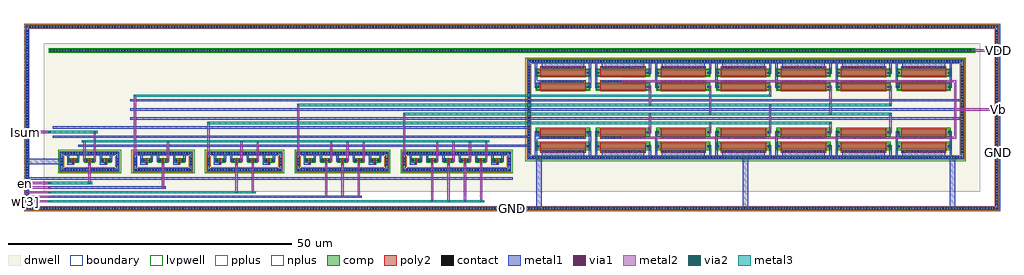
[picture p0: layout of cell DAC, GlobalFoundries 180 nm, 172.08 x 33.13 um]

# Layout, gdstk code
import gdstk
lib = gdstk.Library(unit=1e-6, precision=1e-09)
def R(c, l, rs):  # rectangles x0, y0, x1, y1
    for r in rs: c.add(gdstk.rectangle(r[:2], r[2:], *l))
def A(c, l, x, y, w, h, nx, ny, dx, dy):  # array of equal rectangles
    R(c, l, [(x+i*dx, y+j*dy, x+i*dx+w, y+j*dy+h) for i in range(nx) for j in range(ny)])
def P(c, l, *ps):  # polygons
    for p in ps: c.add(gdstk.Polygon(p, *l))
boundary = (0, 0)
dnwell = (12, 0)
comp = (22, 0)
poly2 = (30, 0)
pplus = (31, 0)
nplus = (32, 0)
contact = (33, 0)
metal1 = (34, 0)
via1 = (35, 0)
metal2 = (36, 0)
via2 = (38, 0)
metal3 = (42, 0)
lvpwell = (204, 0)

dac = lib.new_cell('DAC')
R(dac, boundary, [(0,0,172.08,33.13)])
R(dac, dnwell, [(3.5,3.5,168.58,29.63)])
A(dac, comp, 90.42, 11.02, 9.22, 1, 7, 2, 10.6, 2.47)
A(dac, comp, 90.42, 21.49, 9.22, 1, 7, 2, 10.6, 2.47)
R(dac, comp, [(0.3,0.3,171.78,0.8), (0.3,0.8,0.8,32.33), (171.28,0.8,171.78,32.33), (6.4,7.1,16.74,7.6), (19.34,7.1,29.68,7.6), (32.28,7.1,45.5,7.6), (48.1,7.1,64.2,7.6), (66.8,7.1,85.78,7.6), (6.4,7.6,6.9,9.99), (16.24,7.6,16.74,9.99), (19.34,7.6,19.84,9.99), (29.18,7.6,29.68,9.99), (32.28,7.6,32.78,9.99), (45,7.6,45.5,9.99), (48.1,7.6,48.6,9.99), (63.7,7.6,64.2,9.99), (66.8,7.6,67.3,9.99), (85.28,7.6,85.78,9.99), (88.78,9.25,165.68,9.75), (88.78,9.75,89.28,26.23), (165.18,9.75,165.68,26.23), (6.4,9.99,16.74,10.49), (19.34,9.99,29.68,10.49), (32.28,9.99,45.5,10.49), (48.1,9.99,64.2,10.49), (66.8,9.99,85.78,10.49), (88.78,26.23,165.68,26.73), (4.5,28.13,167.58,28.63), (0.3,32.33,171.78,32.83)])
P(dac, comp, [(7.94,8.79),(7.94,9.17),(8.36,9.17),(8.36,9.09),(9.02,9.09),(9.02,9.17),(9.44,9.17),(9.44,8.79),(9.02,8.79),(9.02,8.87),(8.36,8.87),(8.36,8.79)],
  [(10.82,8.79),(10.82,9.17),(11.24,9.17),(11.24,9.09),(11.9,9.09),(11.9,9.17),(12.32,9.17),(12.32,8.79),(11.9,8.79),(11.9,8.87),(11.24,8.87),(11.24,8.79)],
  [(13.7,8.79),(13.7,9.17),(14.12,9.17),(14.12,9.09),(14.78,9.09),(14.78,9.17),(15.2,9.17),(15.2,8.79),(14.78,8.79),(14.78,8.87),(14.12,8.87),(14.12,8.79)],
  [(20.88,8.79),(20.88,9.17),(21.3,9.17),(21.3,9.09),(21.96,9.09),(21.96,9.17),(22.38,9.17),(22.38,8.79),(21.96,8.79),(21.96,8.87),(21.3,8.87),(21.3,8.79)],
  [(23.76,8.79),(23.76,9.17),(24.18,9.17),(24.18,9.09),(24.84,9.09),(24.84,9.17),(25.26,9.17),(25.26,8.79),(24.84,8.79),(24.84,8.87),(24.18,8.87),(24.18,8.79)],
  [(26.64,8.79),(26.64,9.17),(27.06,9.17),(27.06,9.09),(27.72,9.09),(27.72,9.17),(28.14,9.17),(28.14,8.79),(27.72,8.79),(27.72,8.87),(27.06,8.87),(27.06,8.79)],
  [(33.82,8.79),(33.82,9.17),(34.24,9.17),(34.24,9.09),(34.9,9.09),(34.9,9.17),(35.32,9.17),(35.32,8.79),(34.9,8.79),(34.9,8.87),(34.24,8.87),(34.24,8.79)],
  [(36.7,8.79),(36.7,9.17),(37.12,9.17),(37.12,9.09),(37.78,9.09),(37.78,9.17),(38.2,9.17),(38.2,8.79),(37.78,8.79),(37.78,8.87),(37.12,8.87),(37.12,8.79)],
  [(39.58,8.79),(39.58,9.17),(40,9.17),(40,9.09),(40.66,9.09),(40.66,9.17),(41.08,9.17),(41.08,8.79),(40.66,8.79),(40.66,8.87),(40,8.87),(40,8.79)],
  [(42.46,8.79),(42.46,9.17),(42.88,9.17),(42.88,9.09),(43.54,9.09),(43.54,9.17),(43.96,9.17),(43.96,8.79),(43.54,8.79),(43.54,8.87),(42.88,8.87),(42.88,8.79)],
  [(49.64,8.79),(49.64,9.17),(50.06,9.17),(50.06,9.09),(50.72,9.09),(50.72,9.17),(51.14,9.17),(51.14,8.79),(50.72,8.79),(50.72,8.87),(50.06,8.87),(50.06,8.79)],
  [(52.52,8.79),(52.52,9.17),(52.94,9.17),(52.94,9.09),(53.6,9.09),(53.6,9.17),(54.02,9.17),(54.02,8.79),(53.6,8.79),(53.6,8.87),(52.94,8.87),(52.94,8.79)],
  [(55.4,8.79),(55.4,9.17),(55.82,9.17),(55.82,9.09),(56.48,9.09),(56.48,9.17),(56.9,9.17),(56.9,8.79),(56.48,8.79),(56.48,8.87),(55.82,8.87),(55.82,8.79)],
  [(58.28,8.79),(58.28,9.17),(58.7,9.17),(58.7,9.09),(59.36,9.09),(59.36,9.17),(59.78,9.17),(59.78,8.79),(59.36,8.79),(59.36,8.87),(58.7,8.87),(58.7,8.79)],
  [(61.16,8.79),(61.16,9.17),(61.58,9.17),(61.58,9.09),(62.24,9.09),(62.24,9.17),(62.66,9.17),(62.66,8.79),(62.24,8.79),(62.24,8.87),(61.58,8.87),(61.58,8.79)],
  [(68.34,8.79),(68.34,9.17),(68.76,9.17),(68.76,9.09),(69.42,9.09),(69.42,9.17),(69.84,9.17),(69.84,8.79),(69.42,8.79),(69.42,8.87),(68.76,8.87),(68.76,8.79)],
  [(71.22,8.79),(71.22,9.17),(71.64,9.17),(71.64,9.09),(72.3,9.09),(72.3,9.17),(72.72,9.17),(72.72,8.79),(72.3,8.79),(72.3,8.87),(71.64,8.87),(71.64,8.79)],
  [(74.1,8.79),(74.1,9.17),(74.52,9.17),(74.52,9.09),(75.18,9.09),(75.18,9.17),(75.6,9.17),(75.6,8.79),(75.18,8.79),(75.18,8.87),(74.52,8.87),(74.52,8.79)],
  [(76.98,8.79),(76.98,9.17),(77.4,9.17),(77.4,9.09),(78.06,9.09),(78.06,9.17),(78.48,9.17),(78.48,8.79),(78.06,8.79),(78.06,8.87),(77.4,8.87),(77.4,8.79)],
  [(79.86,8.79),(79.86,9.17),(80.28,9.17),(80.28,9.09),(80.94,9.09),(80.94,9.17),(81.36,9.17),(81.36,8.79),(80.94,8.79),(80.94,8.87),(80.28,8.87),(80.28,8.79)],
  [(82.74,8.79),(82.74,9.17),(83.16,9.17),(83.16,9.09),(83.82,9.09),(83.82,9.17),(84.24,9.17),(84.24,8.79),(83.82,8.79),(83.82,8.87),(83.16,8.87),(83.16,8.79)])
A(dac, poly2, 91.03, 10.36, 8, 1.96, 7, 2, 10.6, 2.47)
A(dac, poly2, 91.03, 21.19, 8, 1.96, 7, 2, 10.6, 2.47)
P(dac, poly2, [(8.51,8.21),(8.51,8.57),(8.55,8.57),(8.55,9.39),(8.83,9.39),(8.83,8.57),(8.87,8.57),(8.87,8.21)],
  [(11.39,8.21),(11.39,8.57),(11.43,8.57),(11.43,9.39),(11.71,9.39),(11.71,8.57),(11.75,8.57),(11.75,8.21)],
  [(14.27,8.21),(14.27,8.57),(14.31,8.57),(14.31,9.39),(14.59,9.39),(14.59,8.57),(14.63,8.57),(14.63,8.21)],
  [(21.45,8.21),(21.45,8.57),(21.49,8.57),(21.49,9.39),(21.77,9.39),(21.77,8.57),(21.81,8.57),(21.81,8.21)],
  [(24.33,8.21),(24.33,8.57),(24.37,8.57),(24.37,9.39),(24.65,9.39),(24.65,8.57),(24.69,8.57),(24.69,8.21)],
  [(27.21,8.21),(27.21,8.57),(27.25,8.57),(27.25,9.39),(27.53,9.39),(27.53,8.57),(27.57,8.57),(27.57,8.21)],
  [(34.39,8.21),(34.39,8.57),(34.43,8.57),(34.43,9.39),(34.71,9.39),(34.71,8.57),(34.75,8.57),(34.75,8.21)],
  [(37.27,8.21),(37.27,8.57),(37.31,8.57),(37.31,9.39),(37.59,9.39),(37.59,8.57),(37.63,8.57),(37.63,8.21)],
  [(40.15,8.21),(40.15,8.57),(40.19,8.57),(40.19,9.39),(40.47,9.39),(40.47,8.57),(40.51,8.57),(40.51,8.21)],
  [(43.03,8.21),(43.03,8.57),(43.07,8.57),(43.07,9.39),(43.35,9.39),(43.35,8.57),(43.39,8.57),(43.39,8.21)],
  [(50.21,8.21),(50.21,8.57),(50.25,8.57),(50.25,9.39),(50.53,9.39),(50.53,8.57),(50.57,8.57),(50.57,8.21)],
  [(53.09,8.21),(53.09,8.57),(53.13,8.57),(53.13,9.39),(53.41,9.39),(53.41,8.57),(53.45,8.57),(53.45,8.21)],
  [(55.97,8.21),(55.97,8.57),(56.01,8.57),(56.01,9.39),(56.29,9.39),(56.29,8.57),(56.33,8.57),(56.33,8.21)],
  [(58.85,8.21),(58.85,8.57),(58.89,8.57),(58.89,9.39),(59.17,9.39),(59.17,8.57),(59.21,8.57),(59.21,8.21)],
  [(61.73,8.21),(61.73,8.57),(61.77,8.57),(61.77,9.39),(62.05,9.39),(62.05,8.57),(62.09,8.57),(62.09,8.21)],
  [(68.91,8.21),(68.91,8.57),(68.95,8.57),(68.95,9.39),(69.23,9.39),(69.23,8.57),(69.27,8.57),(69.27,8.21)],
  [(71.79,8.21),(71.79,8.57),(71.83,8.57),(71.83,9.39),(72.11,9.39),(72.11,8.57),(72.15,8.57),(72.15,8.21)],
  [(74.67,8.21),(74.67,8.57),(74.71,8.57),(74.71,9.39),(74.99,9.39),(74.99,8.57),(75.03,8.57),(75.03,8.21)],
  [(77.55,8.21),(77.55,8.57),(77.59,8.57),(77.59,9.39),(77.87,9.39),(77.87,8.57),(77.91,8.57),(77.91,8.21)],
  [(80.43,8.21),(80.43,8.57),(80.47,8.57),(80.47,9.39),(80.75,9.39),(80.75,8.57),(80.79,8.57),(80.79,8.21)],
  [(83.31,8.21),(83.31,8.57),(83.35,8.57),(83.35,9.39),(83.63,9.39),(83.63,8.57),(83.67,8.57),(83.67,8.21)])
R(dac, pplus, [(0.14,0.14,171.94,0.96), (0.14,0.64,0.96,32.49), (171.12,0.64,171.94,32.49), (6.24,6.94,16.9,7.76), (19.18,6.94,29.84,7.76), (32.12,6.94,45.66,7.76), (47.94,6.94,64.36,7.76), (66.64,6.94,85.94,7.76), (6.24,7.44,7.06,10.15), (16.08,7.44,16.9,10.15), (19.18,7.44,20,10.15), (29.02,7.44,29.84,10.15), (32.12,7.44,32.94,10.15), (44.84,7.44,45.66,10.15), (47.94,7.44,48.76,10.15), (63.54,7.44,64.36,10.15), (66.64,7.44,67.46,10.15), (85.12,7.44,85.94,10.15), (88.62,9.09,165.84,9.91), (88.62,9.59,89.44,26.39), (165.02,9.59,165.84,26.39), (6.24,9.83,16.9,10.65), (19.18,9.83,29.84,10.65), (32.12,9.83,45.66,10.65), (47.94,9.83,64.36,10.65), (66.64,9.83,85.94,10.65), (88.62,26.07,165.84,26.89), (0.14,32.17,171.94,32.99)])
A(dac, nplus, 7.77, 8.55, 1.84, 0.86, 3, 1, 2.88, 0)
A(dac, nplus, 20.71, 8.55, 1.84, 0.86, 3, 1, 2.88, 0)
A(dac, nplus, 33.65, 8.55, 1.84, 0.86, 4, 1, 2.88, 0)
A(dac, nplus, 49.47, 8.55, 1.84, 0.86, 5, 1, 2.88, 0)
A(dac, nplus, 68.17, 8.55, 1.84, 0.86, 6, 1, 2.88, 0)
A(dac, nplus, 90.25, 10.78, 9.56, 1.48, 7, 2, 10.6, 2.47)
A(dac, nplus, 90.25, 21.25, 9.56, 1.48, 7, 2, 10.6, 2.47)
R(dac, nplus, [(4.34,27.97,167.74,28.79)])
A(dac, contact, 0.43, 0.44, 0.22, 0.22, 343, 2, 0.5, 32.03)
A(dac, contact, 0.44, 1.205, 0.22, 0.22, 1, 62, 0, 0.5)
A(dac, contact, 171.42, 1.205, 0.22, 0.22, 1, 62, 0, 0.5)
A(dac, contact, 6.71, 7.24, 0.22, 0.22, 20, 2, 0.5, 2.89)
A(dac, contact, 19.65, 7.24, 0.22, 0.22, 20, 2, 0.5, 2.89)
A(dac, contact, 32.53, 7.24, 0.22, 0.22, 26, 2, 0.5, 2.89)
A(dac, contact, 48.29, 7.24, 0.22, 0.22, 32, 2, 0.5, 2.89)
A(dac, contact, 66.93, 7.24, 0.22, 0.22, 38, 2, 0.5, 2.89)
A(dac, contact, 6.54, 8.185, 0.22, 0.22, 1, 3, 0, 0.5)
A(dac, contact, 16.38, 8.185, 0.22, 0.22, 1, 3, 0, 0.5)
A(dac, contact, 19.48, 8.185, 0.22, 0.22, 1, 3, 0, 0.5)
A(dac, contact, 29.32, 8.185, 0.22, 0.22, 1, 3, 0, 0.5)
A(dac, contact, 32.42, 8.185, 0.22, 0.22, 1, 3, 0, 0.5)
A(dac, contact, 45.14, 8.185, 0.22, 0.22, 1, 3, 0, 0.5)
A(dac, contact, 48.24, 8.185, 0.22, 0.22, 1, 3, 0, 0.5)
A(dac, contact, 63.84, 8.185, 0.22, 0.22, 1, 3, 0, 0.5)
A(dac, contact, 66.94, 8.185, 0.22, 0.22, 1, 3, 0, 0.5)
A(dac, contact, 85.42, 8.185, 0.22, 0.22, 1, 3, 0, 0.5)
A(dac, contact, 8.58, 8.28, 0.22, 0.22, 3, 1, 2.88, 0)
A(dac, contact, 21.52, 8.28, 0.22, 0.22, 3, 1, 2.88, 0)
A(dac, contact, 34.46, 8.28, 0.22, 0.22, 4, 1, 2.88, 0)
A(dac, contact, 50.28, 8.28, 0.22, 0.22, 5, 1, 2.88, 0)
A(dac, contact, 68.98, 8.28, 0.22, 0.22, 6, 1, 2.88, 0)
A(dac, contact, 89.12, 9.39, 0.22, 0.22, 153, 2, 0.5, 16.98)
A(dac, contact, 88.92, 10.38, 0.22, 0.22, 1, 31, 0, 0.5)
A(dac, contact, 165.32, 10.38, 0.22, 0.22, 1, 31, 0, 0.5)
A(dac, contact, 91.35, 10.43, 0.22, 0.22, 15, 2, 0.51, 2.47)
A(dac, contact, 101.95, 10.43, 0.22, 0.22, 15, 2, 0.51, 2.47)
A(dac, contact, 112.55, 10.43, 0.22, 0.22, 15, 2, 0.51, 2.47)
A(dac, contact, 123.15, 10.43, 0.22, 0.22, 15, 2, 0.51, 2.47)
A(dac, contact, 133.75, 10.43, 0.22, 0.22, 15, 2, 0.51, 2.47)
A(dac, contact, 144.35, 10.43, 0.22, 0.22, 15, 2, 0.51, 2.47)
A(dac, contact, 154.95, 10.43, 0.22, 0.22, 15, 2, 0.51, 2.47)
A(dac, contact, 91.35, 22.86, 0.22, 0.22, 15, 2, 0.51, 2.47)
A(dac, contact, 101.95, 22.86, 0.22, 0.22, 15, 2, 0.51, 2.47)
A(dac, contact, 112.55, 22.86, 0.22, 0.22, 15, 2, 0.51, 2.47)
A(dac, contact, 123.15, 22.86, 0.22, 0.22, 15, 2, 0.51, 2.47)
A(dac, contact, 133.75, 22.86, 0.22, 0.22, 15, 2, 0.51, 2.47)
A(dac, contact, 144.35, 22.86, 0.22, 0.22, 15, 2, 0.51, 2.47)
A(dac, contact, 154.95, 22.86, 0.22, 0.22, 15, 2, 0.51, 2.47)
A(dac, contact, 4.68, 28.27, 0.22, 0.22, 326, 1, 0.5, 0)
R(dac, contact, [(8.04,8.87,8.26,9.09), (9.12,8.87,9.34,9.09), (10.92,8.87,11.14,9.09), (12,8.87,12.22,9.09), (13.8,8.87,14.02,9.09), (14.88,8.87,15.1,9.09), (20.98,8.87,21.2,9.09), (22.06,8.87,22.28,9.09), (23.86,8.87,24.08,9.09), (24.94,8.87,25.16,9.09), (26.74,8.87,26.96,9.09), (27.82,8.87,28.04,9.09), (33.92,8.87,34.14,9.09), (35,8.87,35.22,9.09), (36.8,8.87,37.02,9.09), (37.88,8.87,38.1,9.09), (39.68,8.87,39.9,9.09), (40.76,8.87,40.98,9.09), (42.56,8.87,42.78,9.09), (43.64,8.87,43.86,9.09), (49.74,8.87,49.96,9.09), (50.82,8.87,51.04,9.09), (52.62,8.87,52.84,9.09), (53.7,8.87,53.92,9.09), (55.5,8.87,55.72,9.09), (56.58,8.87,56.8,9.09), (58.38,8.87,58.6,9.09), (59.46,8.87,59.68,9.09), (61.26,8.87,61.48,9.09), (62.34,8.87,62.56,9.09), (68.44,8.87,68.66,9.09), (69.52,8.87,69.74,9.09), (71.32,8.87,71.54,9.09), (72.4,8.87,72.62,9.09), (74.2,8.87,74.42,9.09), (75.28,8.87,75.5,9.09), (77.08,8.87,77.3,9.09), (78.16,8.87,78.38,9.09), (79.96,8.87,80.18,9.09), (81.04,8.87,81.26,9.09), (82.84,8.87,83.06,9.09), (83.92,8.87,84.14,9.09), (90.52,11.41,90.74,11.63), (99.32,11.41,99.54,11.63), (101.12,11.41,101.34,11.63), (109.92,11.41,110.14,11.63), (111.72,11.41,111.94,11.63), (120.52,11.41,120.74,11.63), (122.32,11.41,122.54,11.63), (131.12,11.41,131.34,11.63), (132.92,11.41,133.14,11.63), (141.72,11.41,141.94,11.63), (143.52,11.41,143.74,11.63), (152.32,11.41,152.54,11.63), (154.12,11.41,154.34,11.63), (162.92,11.41,163.14,11.63), (90.52,13.88,90.74,14.1), (99.32,13.88,99.54,14.1), (101.12,13.88,101.34,14.1), (109.92,13.88,110.14,14.1), (111.72,13.88,111.94,14.1), (120.52,13.88,120.74,14.1), (122.32,13.88,122.54,14.1), (131.12,13.88,131.34,14.1), (132.92,13.88,133.14,14.1), (141.72,13.88,141.94,14.1), (143.52,13.88,143.74,14.1), (152.32,13.88,152.54,14.1), (154.12,13.88,154.34,14.1), (162.92,13.88,163.14,14.1), (90.52,21.88,90.74,22.1), (99.32,21.88,99.54,22.1), (101.12,21.88,101.34,22.1), (109.92,21.88,110.14,22.1), (111.72,21.88,111.94,22.1), (120.52,21.88,120.74,22.1), (122.32,21.88,122.54,22.1), (131.12,21.88,131.34,22.1), (132.92,21.88,133.14,22.1), (141.72,21.88,141.94,22.1), (143.52,21.88,143.74,22.1), (152.32,21.88,152.54,22.1), (154.12,21.88,154.34,22.1), (162.92,21.88,163.14,22.1), (90.52,24.35,90.74,24.57), (99.32,24.35,99.54,24.57), (101.12,24.35,101.34,24.57), (109.92,24.35,110.14,24.57), (111.72,24.35,111.94,24.57), (120.52,24.35,120.74,24.57), (122.32,24.35,122.54,24.57), (131.12,24.35,131.34,24.57), (132.92,24.35,133.14,24.57), (141.72,24.35,141.94,24.57), (143.52,24.35,143.74,24.57), (152.32,24.35,152.54,24.57), (154.12,24.35,154.34,24.57), (162.92,24.35,163.14,24.57)])
A(dac, metal1, 90.28, 0.79, 1, 8.47, 3, 1, 36.45, 0)
A(dac, metal1, 53.07, 2.4, 0.4, 0.4, 3, 2, 2.88, 5.79)
A(dac, metal1, 11.37, 8.19, 0.4, 0.4, 3, 1, 12.94, 0)
A(dac, metal1, 71.77, 8.19, 0.4, 0.4, 4, 1, 2.88, 0)
A(dac, metal1, 8.5, 8.2, 0.38, 0.38, 3, 1, 2.88, 0)
A(dac, metal1, 21.44, 8.2, 0.38, 0.38, 3, 1, 2.88, 0)
A(dac, metal1, 34.38, 8.2, 0.38, 0.38, 4, 1, 2.88, 0)
A(dac, metal1, 50.2, 8.2, 0.38, 0.38, 5, 1, 2.88, 0)
A(dac, metal1, 68.9, 8.2, 0.38, 0.38, 6, 1, 2.88, 0)
A(dac, metal1, 12.26, 8.78, 0.4, 0.4, 3, 1, 12.94, 0)
A(dac, metal1, 53.96, 8.78, 0.4, 0.4, 3, 1, 2.88, 0)
A(dac, metal1, 72.66, 8.78, 0.4, 0.4, 4, 1, 2.88, 0)
A(dac, metal1, 7.6, 8.79, 0.74, 0.38, 6, 1, 1.44, 0)
A(dac, metal1, 20.54, 8.79, 0.74, 0.38, 6, 1, 1.44, 0)
A(dac, metal1, 33.48, 8.79, 0.74, 0.38, 8, 1, 1.44, 0)
A(dac, metal1, 49.3, 8.79, 0.74, 0.38, 10, 1, 1.44, 0)
A(dac, metal1, 68, 8.79, 0.74, 0.38, 12, 1, 1.44, 0)
A(dac, metal1, 36.36, 8.98, 0.4, 1.02, 3, 1, 2.88, 0)
A(dac, metal1, 52.18, 8.98, 0.4, 1.02, 4, 1, 2.88, 0)
A(dac, metal1, 70.88, 8.98, 0.4, 1.02, 5, 1, 2.88, 0)
A(dac, metal1, 91.27, 9.74, 7.52, 0.99, 7, 2, 10.6, 15.51)
A(dac, metal1, 91.27, 10.35, 7.52, 0.38, 7, 2, 10.6, 2.47)
A(dac, metal1, 100.68, 11.52, 0.4, 2.47, 6, 2, 10.6, 10.47)
A(dac, metal1, 105.43, 12.81, 0.4, 0.4, 5, 2, 10.6, 9.96)
A(dac, metal1, 110.18, 13.79, 0.4, 0.4, 5, 2, 10.6, 8)
A(dac, metal1, 18.74, 16.19, 146.94, 0.4, 1, 3, 0, 1.6)
A(dac, metal1, 91.27, 22.78, 7.52, 0.38, 7, 2, 10.6, 2.47)
R(dac, metal1, [(0.3,0.3,171.78,0.8), (0.3,0.8,0.8,32.33), (171.28,0.8,171.78,32.33), (4.3,2.4,4.7,2.8), (4.3,2.4,59.53,2.8), (4.3,4,4.7,4.4), (4.3,4,25.01,4.4), (24.31,4,24.71,4.4), (0.79,5.6,86.18,6), (6.4,7.1,16.74,7.6), (19.34,7.1,29.68,7.6), (32.28,7.1,45.5,7.6), (48.1,7.1,64.2,7.6), (66.8,7.1,85.78,7.6), (6.4,7.6,6.9,9.99), (16.24,7.6,16.74,9.99), (19.34,7.6,19.84,9.99), (29.18,7.6,29.68,9.99), (32.28,7.6,32.78,9.99), (45,7.6,45.5,9.99), (48.1,7.6,48.6,9.99), (63.7,7.6,64.2,9.99), (66.8,7.6,67.3,9.99), (85.28,7.6,85.78,9.99), (40.13,8.19,40.53,8.59), (7.6,8.2,8.34,9.17), (8.33,8.2,8.69,8.58), (13.36,8.2,14.1,9.17), (14.09,8.2,14.45,8.58), (20.54,8.2,21.28,9.17), (21.27,8.2,21.63,8.58), (26.3,8.2,27.04,9.17), (27.03,8.2,27.39,8.58), (33.48,8.2,34.22,9.17), (34.21,8.2,34.57,8.58), (42.12,8.2,42.86,9.17), (42.85,8.2,43.21,8.58), (49.3,8.2,50.04,9.17), (50.03,8.2,50.39,8.58), (60.82,8.2,61.56,9.17), (61.55,8.2,61.91,8.58), (68,8.2,68.74,9.17), (68.73,8.2,69.09,8.58), (82.4,8.2,83.14,9.17), (83.13,8.2,83.49,8.58), (0.79,8.295,6.41,9.295), (10.48,8.78,10.88,9.18), (41.02,8.78,41.42,9.18), (7.96,8.79,8.34,9.17), (9.04,8.79,9.42,9.17), (10.84,8.79,11.22,9.17), (11.92,8.79,12.3,9.17), (13.72,8.79,14.1,9.17), (14.8,8.79,15.18,9.17), (20.9,8.79,21.28,9.17), (21.98,8.79,22.36,9.17), (23.78,8.79,24.16,9.17), (24.86,8.79,25.24,9.17), (26.66,8.79,27.04,9.17), (27.74,8.79,28.12,9.17), (33.84,8.79,34.22,9.17), (34.92,8.79,35.3,9.17), (36.72,8.79,37.1,9.17), (37.8,8.79,38.18,9.17), (39.6,8.79,39.98,9.17), (40.68,8.79,41.06,9.17), (42.48,8.79,42.86,9.17), (43.56,8.79,43.94,9.17), (49.66,8.79,50.04,9.17), (50.74,8.79,51.12,9.17), (52.54,8.79,52.92,9.17), (53.62,8.79,54,9.17), (55.42,8.79,55.8,9.17), (56.5,8.79,56.88,9.17), (58.3,8.79,58.68,9.17), (59.38,8.79,59.76,9.17), (61.18,8.79,61.56,9.17), (62.26,8.79,62.64,9.17), (68.36,8.79,68.74,9.17), (69.44,8.79,69.82,9.17), (71.24,8.79,71.62,9.17), (72.32,8.79,72.7,9.17), (74.12,8.79,74.5,9.17), (75.2,8.79,75.58,9.17), (77,8.79,77.38,9.17), (78.08,8.79,78.46,9.17), (79.88,8.79,80.26,9.17), (80.96,8.79,81.34,9.17), (82.76,8.79,83.14,9.17), (83.84,8.79,84.22,9.17), (7.6,8.98,8,10), (9.38,8.98,9.78,10), (13.36,8.98,13.76,10), (15.14,8.98,15.54,10), (20.54,8.98,20.94,10), (22.32,8.98,22.72,10), (23.42,8.98,23.82,10), (26.3,8.98,26.7,10), (28.08,8.98,28.48,10), (33.48,8.98,33.88,10), (35.26,8.98,35.66,10), (43.9,8.98,44.3,10), (49.3,8.98,49.7,10), (51.08,8.98,51.48,10), (62.6,8.98,63,10), (68,8.98,68.4,10), (69.78,8.98,70.18,10), (84.18,8.98,84.58,10), (88.78,9.25,165.68,9.75), (90.08,9.74,90.48,11.52), (99.58,9.74,99.98,11.52), (100.68,9.74,101.08,11.52), (110.18,9.74,110.58,11.52), (111.28,9.74,111.68,11.52), (120.78,9.74,121.18,11.52), (121.88,9.74,122.28,11.52), (131.38,9.74,131.78,11.52), (132.48,9.74,132.88,11.52), (141.98,9.74,142.38,11.52), (143.08,9.74,143.48,11.52), (152.58,9.74,152.98,11.52), (153.68,9.74,154.08,11.52), (163.18,9.74,163.58,11.52), (88.78,9.75,89.28,26.23), (165.18,9.75,165.68,26.23), (6.4,9.99,16.74,10.49), (19.34,9.99,29.68,10.49), (32.28,9.99,45.5,10.49), (48.1,9.99,64.2,10.49), (66.8,9.99,85.78,10.49), (19.39,10.04,19.79,10.44), (32.33,10.04,32.73,10.44), (48.15,10.04,48.55,10.44), (66.85,10.04,67.25,10.44), (171.33,10.185,171.73,10.585), (90.08,11.33,90.82,11.71), (90.44,11.33,90.82,11.71), (99.24,11.33,99.62,11.71), (99.24,11.33,99.98,11.71), (100.68,11.33,101.42,11.71), (101.04,11.33,101.42,11.71), (109.84,11.33,110.22,11.71), (109.84,11.33,110.58,11.71), (111.28,11.33,112.02,11.71), (111.64,11.33,112.02,11.71), (120.44,11.33,120.82,11.71), (120.44,11.33,121.18,11.71), (121.88,11.33,122.62,11.71), (122.24,11.33,122.62,11.71), (131.04,11.33,131.42,11.71), (131.04,11.33,131.78,11.71), (132.48,11.33,133.22,11.71), (132.84,11.33,133.22,11.71), (141.64,11.33,142.02,11.71), (141.64,11.33,142.38,11.71), (143.08,11.33,143.82,11.71), (143.44,11.33,143.82,11.71), (152.24,11.33,152.62,11.71), (152.24,11.33,152.98,11.71), (153.68,11.33,154.42,11.71), (154.04,11.33,154.42,11.71), (162.84,11.33,163.22,11.71), (162.84,11.33,163.58,11.71), (9.58,11.39,89.28,11.79), (90.08,11.52,90.48,13.99), (99.58,11.52,99.98,13.99), (163.18,11.52,163.58,13.99), (90.08,12.82,90.82,14.18), (90.81,12.82,95.03,13.2), (153.68,12.82,154.42,14.18), (154.41,12.82,158.63,13.2), (5.1,12.99,89.28,13.39), (90.08,13.8,90.82,14.18), (90.44,13.8,90.82,14.18), (99.24,13.8,99.62,14.18), (99.24,13.8,99.98,14.18), (100.68,13.8,101.42,14.18), (101.04,13.8,101.42,14.18), (109.84,13.8,110.22,14.18), (109.84,13.8,110.58,14.18), (111.28,13.8,112.02,14.18), (111.64,13.8,112.02,14.18), (120.44,13.8,120.82,14.18), (120.44,13.8,121.18,14.18), (121.88,13.8,122.62,14.18), (122.24,13.8,122.62,14.18), (131.04,13.8,131.42,14.18), (131.04,13.8,131.78,14.18), (132.48,13.8,133.22,14.18), (132.84,13.8,133.22,14.18), (141.64,13.8,142.02,14.18), (141.64,13.8,142.38,14.18), (143.08,13.8,143.82,14.18), (143.44,13.8,143.82,14.18), (152.24,13.8,152.62,14.18), (152.24,13.8,152.98,14.18), (153.68,13.8,154.42,14.18), (154.04,13.8,154.42,14.18), (162.84,13.8,163.22,14.18), (162.84,13.8,163.58,14.18), (5.1,14.59,89.28,14.99), (90.08,21.8,90.82,22.18), (90.08,21.8,90.82,23.16), (90.44,21.8,90.82,22.18), (99.24,21.8,99.62,22.18), (99.24,21.8,99.98,22.18), (100.68,21.8,101.42,22.18), (101.04,21.8,101.42,22.18), (109.84,21.8,110.22,22.18), (109.84,21.8,110.58,22.18), (111.28,21.8,112.02,22.18), (111.64,21.8,112.02,22.18), (120.44,21.8,120.82,22.18), (120.44,21.8,121.18,22.18), (121.88,21.8,122.62,22.18), (122.24,21.8,122.62,22.18), (131.04,21.8,131.42,22.18), (131.04,21.8,131.78,22.18), (132.48,21.8,133.22,22.18), (132.84,21.8,133.22,22.18), (141.64,21.8,142.02,22.18), (141.64,21.8,142.38,22.18), (143.08,21.8,143.82,22.18), (143.44,21.8,143.82,22.18), (152.24,21.8,152.62,22.18), (152.24,21.8,152.98,22.18), (153.68,21.8,154.42,22.18), (153.68,21.8,154.42,23.16), (154.04,21.8,154.42,22.18), (162.84,21.8,163.22,22.18), (162.84,21.8,163.58,22.18), (90.08,21.99,90.48,24.46), (99.58,21.99,99.98,24.46), (163.18,21.99,163.58,24.46), (90.81,22.78,95.03,23.16), (154.41,22.78,158.63,23.16), (90.08,24.27,90.82,24.65), (90.44,24.27,90.82,24.65), (99.24,24.27,99.62,24.65), (99.24,24.27,99.98,24.65), (100.68,24.27,101.42,24.65), (101.04,24.27,101.42,24.65), (109.84,24.27,110.22,24.65), (109.84,24.27,110.58,24.65), (111.28,24.27,112.02,24.65), (111.64,24.27,112.02,24.65), (120.44,24.27,120.82,24.65), (120.44,24.27,121.18,24.65), (121.88,24.27,122.62,24.65), (122.24,24.27,122.62,24.65), (131.04,24.27,131.42,24.65), (131.04,24.27,131.78,24.65), (132.48,24.27,133.22,24.65), (132.84,24.27,133.22,24.65), (141.64,24.27,142.02,24.65), (141.64,24.27,142.38,24.65), (143.08,24.27,143.82,24.65), (143.44,24.27,143.82,24.65), (152.24,24.27,152.62,24.65), (152.24,24.27,152.98,24.65), (153.68,24.27,154.42,24.65), (154.04,24.27,154.42,24.65), (162.84,24.27,163.22,24.65), (162.84,24.27,163.58,24.65), (90.08,24.46,90.48,26.24), (99.58,24.46,99.98,26.24), (100.68,24.46,101.08,26.24), (110.18,24.46,110.58,26.24), (111.28,24.46,111.68,26.24), (120.78,24.46,121.18,26.24), (121.88,24.46,122.28,26.24), (131.38,24.46,131.78,26.24), (132.48,24.46,132.88,26.24), (141.98,24.46,142.38,26.24), (143.08,24.46,143.48,26.24), (152.58,24.46,152.98,26.24), (153.68,24.46,154.08,26.24), (163.18,24.46,163.58,26.24), (88.78,26.23,165.68,26.73), (4.5,28.13,167.58,28.63), (167.08,28.18,167.48,28.58), (0.3,32.33,171.78,32.83)])
A(dac, via1, 53.14, 2.47, 0.26, 0.26, 3, 2, 2.88, 5.79)
A(dac, via1, 11.44, 8.26, 0.26, 0.26, 3, 1, 12.94, 0)
A(dac, via1, 71.84, 8.26, 0.26, 0.26, 4, 1, 2.88, 0)
A(dac, via1, 12.33, 8.85, 0.26, 0.26, 3, 1, 12.94, 0)
A(dac, via1, 54.03, 8.85, 0.26, 0.26, 3, 1, 2.88, 0)
A(dac, via1, 72.73, 8.85, 0.26, 0.26, 4, 1, 2.88, 0)
A(dac, via1, 105.5, 12.88, 0.26, 0.26, 5, 2, 10.6, 9.96)
A(dac, via1, 110.25, 13.86, 0.26, 0.26, 5, 2, 10.6, 8)
R(dac, via1, [(4.37,2.47,4.63,2.73), (4.37,4.07,4.63,4.33), (24.38,4.07,24.64,4.33), (40.2,8.26,40.46,8.52), (10.55,8.85,10.81,9.11), (41.09,8.85,41.35,9.11), (19.46,10.11,19.72,10.37), (32.4,10.11,32.66,10.37), (48.22,10.11,48.48,10.37), (66.92,10.11,67.18,10.37), (171.4,10.255,171.66,10.515), (167.15,28.25,167.41,28.51)])
A(dac, metal2, 0, 1.6, 0.6, 0.4, 1, 5, 0, 0.8)
A(dac, metal2, 0, 1.6, 4.5, 0.4, 1, 5, 0, 0.8)
A(dac, metal2, 4.3, 1.6, 0.4, 0.4, 1, 5, 0, 0.8)
A(dac, metal2, 71.77, 1.6, 0.4, 0.4, 4, 2, 2.88, 6.59)
A(dac, metal2, 71.77, 1.8, 0.4, 6.59, 4, 1, 2.88, 0)
A(dac, metal2, 53.07, 2.4, 0.4, 0.4, 3, 2, 2.88, 5.79)
A(dac, metal2, 53.07, 2.6, 0.4, 5.79, 3, 1, 2.88, 0)
A(dac, metal2, 11.37, 8.19, 0.4, 0.4, 3, 1, 12.94, 0)
A(dac, metal2, 12.26, 8.78, 0.4, 0.4, 3, 1, 12.94, 0)
A(dac, metal2, 53.96, 8.78, 0.4, 0.4, 3, 2, 2.88, 3.41)
A(dac, metal2, 72.66, 8.78, 0.4, 0.4, 4, 2, 2.88, 3.41)
A(dac, metal2, 53.96, 8.98, 0.4, 3.41, 3, 1, 2.88, 0)
A(dac, metal2, 72.66, 8.98, 0.4, 3.41, 4, 1, 2.88, 0)
A(dac, metal2, 105.43, 12.81, 0.4, 0.4, 5, 2, 10.6, 9.96)
A(dac, metal2, 110.18, 13.79, 0.4, 0.4, 5, 2, 10.6, 8)
A(dac, metal2, 110.18, 18.59, 0.4, 0.4, 3, 1, 21.2, 0)
R(dac, metal2, [(37.25,3.2,37.65,3.6), (40.13,3.2,40.53,3.6), (37.25,3.4,37.65,8.39), (40.13,3.4,40.53,8.39), (24.31,4,24.71,4.4), (24.31,4.2,24.71,8.39), (11.37,4.8,11.77,5.2), (11.37,5,11.77,8.39), (40.13,8.19,40.53,8.59), (10.48,8.78,10.88,9.18), (41.02,8.78,41.42,9.18), (10.48,8.98,10.88,12.39), (12.26,8.98,12.66,13.99), (25.2,8.98,25.6,12.39), (38.14,8.98,38.54,12.39), (41.02,8.98,41.42,12.39), (19.39,10.04,19.79,10.44), (32.33,10.04,32.73,10.44), (48.15,10.04,48.55,10.44), (66.85,10.04,67.25,10.44), (171.48,10.135,172.08,10.635), (171.33,10.185,171.73,10.585), (19.39,10.24,19.79,20.39), (32.33,10.24,32.73,15.59), (48.15,10.24,48.55,18.79), (66.85,10.24,67.25,17.19), (10.48,12.19,10.88,12.59), (25.2,12.19,25.6,12.59), (38.14,12.19,38.54,12.59), (41.02,12.19,41.42,12.59), (105.43,12.81,164.38,13.21), (163.98,12.81,164.38,23.17), (0,13.79,0.6,14.19), (0,13.79,4.5,14.19), (4.3,13.79,4.7,14.19), (12.26,13.79,12.66,14.19), (110.18,13.99,110.58,17.19), (120.78,13.99,121.18,15.59), (131.38,13.99,131.78,18.79), (141.98,13.99,142.38,15.59), (152.58,13.99,152.98,17.19), (32.33,15.39,32.73,15.79), (120.78,15.39,121.18,15.79), (141.98,15.39,142.38,15.79), (66.85,16.99,67.25,17.39), (110.18,16.99,110.58,17.39), (120.78,16.99,121.18,17.39), (141.98,16.99,142.38,17.39), (152.58,16.99,152.98,17.39), (120.78,17.19,121.18,21.99), (141.98,17.19,142.38,21.99), (163.98,17.79,172.08,18.19), (171.48,17.79,172.08,18.19), (48.15,18.59,48.55,18.99), (110.18,18.79,110.58,21.99), (152.58,18.79,152.98,21.99), (19.39,20.19,19.79,20.59), (131.38,20.19,131.78,20.59), (131.38,20.39,131.78,21.99), (105.43,22.77,164.38,23.17), (167.28,28.13,172.08,28.63), (171.48,28.13,172.08,28.63), (167.08,28.18,167.48,28.58)])
A(dac, via2, 4.37, 1.67, 0.26, 0.26, 1, 3, 0, 1.6)
A(dac, via2, 71.84, 1.67, 0.26, 0.26, 4, 1, 2.88, 0)
A(dac, via2, 54.03, 12.26, 0.26, 0.26, 3, 1, 2.88, 0)
A(dac, via2, 72.73, 12.26, 0.26, 0.26, 4, 1, 2.88, 0)
A(dac, via2, 110.25, 18.66, 0.26, 0.26, 3, 1, 21.2, 0)
R(dac, via2, [(37.32,3.27,37.58,3.53), (40.2,3.27,40.46,3.53), (11.44,4.87,11.7,5.13), (10.55,12.26,10.81,12.52), (25.27,12.26,25.53,12.52), (38.21,12.26,38.47,12.52), (41.09,12.26,41.35,12.52), (4.37,13.86,4.63,14.12), (12.33,13.86,12.59,14.12), (32.4,15.46,32.66,15.72), (120.85,15.46,121.11,15.72), (142.05,15.46,142.31,15.72), (66.92,17.06,67.18,17.32), (110.25,17.06,110.51,17.32), (120.85,17.06,121.11,17.32), (142.05,17.06,142.31,17.32), (152.65,17.06,152.91,17.32), (48.22,18.66,48.48,18.92), (19.46,20.26,19.72,20.52), (131.45,20.26,131.71,20.52)])
A(dac, metal3, 4.3, 1.6, 0.4, 0.4, 1, 3, 0, 1.6)
A(dac, metal3, 71.77, 1.6, 0.4, 0.4, 4, 1, 2.88, 0)
A(dac, metal3, 53.96, 12.19, 0.4, 0.4, 3, 1, 2.88, 0)
A(dac, metal3, 72.66, 12.19, 0.4, 0.4, 4, 1, 2.88, 0)
A(dac, metal3, 110.18, 18.59, 0.4, 0.4, 3, 1, 21.2, 0)
R(dac, metal3, [(4.3,1.6,81.11,2), (4.3,3.2,40.83,3.6), (37.25,3.2,37.65,3.6), (40.13,3.2,40.53,3.6), (4.3,4.8,12.07,5.2), (11.37,4.8,11.77,5.2), (10.18,12.19,82,12.59), (10.48,12.19,10.88,12.59), (25.2,12.19,25.6,12.59), (38.14,12.19,38.54,12.59), (41.02,12.19,41.42,12.59), (4.3,13.79,4.7,14.19), (4.3,13.79,12.96,14.19), (12.26,13.79,12.66,14.19), (32.33,15.39,32.73,15.79), (32.33,15.39,142.38,15.79), (120.78,15.39,121.18,15.79), (141.98,15.39,142.38,15.79), (66.85,16.99,67.25,17.39), (66.85,16.99,152.98,17.39), (110.18,16.99,110.58,17.39), (120.78,16.99,121.18,17.39), (141.98,16.99,142.38,17.39), (152.58,16.99,152.98,17.39), (48.15,18.59,48.55,18.99), (48.15,18.59,152.98,18.99), (19.39,20.19,19.79,20.59), (19.39,20.19,131.78,20.59), (131.38,20.19,131.78,20.59)])
R(dac, lvpwell, [(6,6.7,17.14,10.89), (18.94,6.7,30.08,10.89), (31.88,6.7,45.9,10.89), (47.7,6.7,64.6,10.89), (66.4,6.7,86.18,10.89), (88.38,8.85,166.08,27.13)])
dac.add(gdstk.Label('GND', (86.04,0.55), layer=34, texttype=10))
dac.add(gdstk.Label('Isum', (0.3,13.99), layer=36, texttype=10))
dac.add(gdstk.Label('en', (0.3,5), layer=36, texttype=10))
dac.add(gdstk.Label('w[0]', (0.3,4.2), layer=36, texttype=10))
dac.add(gdstk.Label('w[1]', (0.3,3.4), layer=36, texttype=10))
dac.add(gdstk.Label('w[2]', (0.3,2.6), layer=36, texttype=10))
dac.add(gdstk.Label('w[3]', (0.3,1.8), layer=36, texttype=10))
dac.add(gdstk.Label('Vb', (171.78,17.99), layer=36, texttype=10))
dac.add(gdstk.Label('VDD', (171.78,28.38), layer=36, texttype=10))
dac.add(gdstk.Label('GND', (171.78,10.385), layer=36, texttype=10))

lib.write_gds('DAC.gds')
